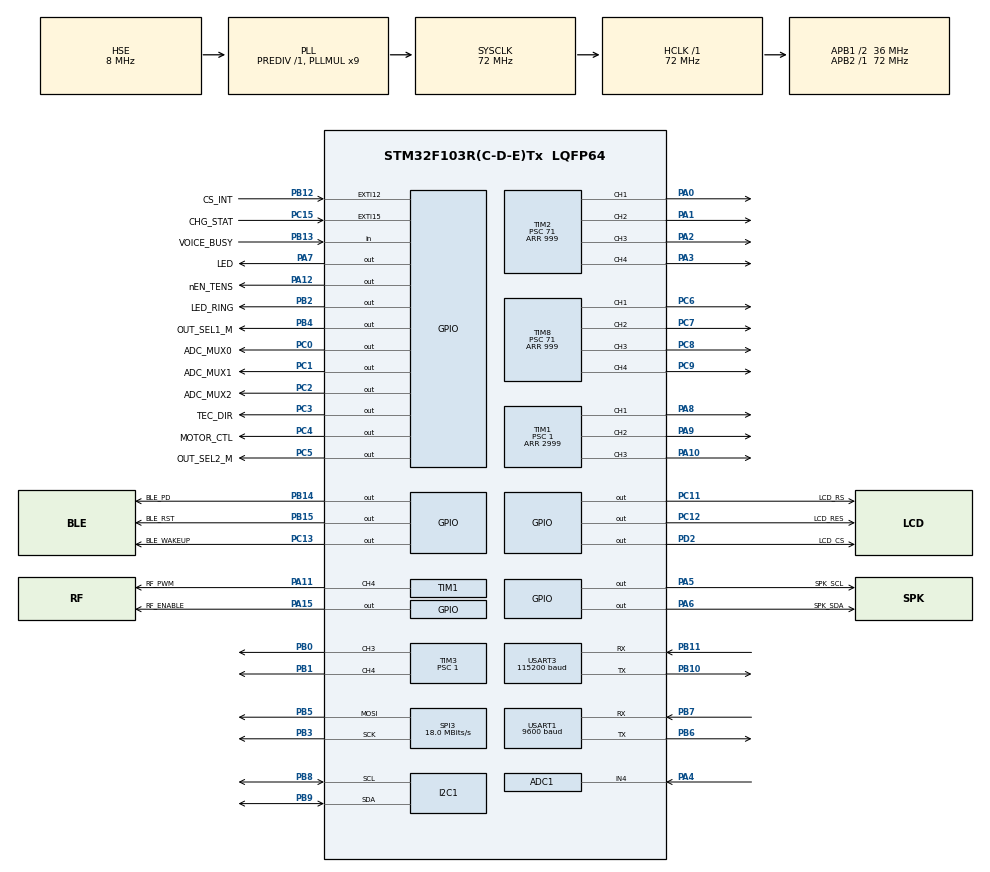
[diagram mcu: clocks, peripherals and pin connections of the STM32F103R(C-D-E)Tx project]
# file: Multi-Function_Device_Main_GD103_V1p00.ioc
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ADC1.Channel-0\#ChannelRegularConversion=ADC_CHANNEL_4
ADC1.ContinuousConvMode=ENABLE
ADC1.DiscontinuousConvMode=DISABLE
ADC1.NbrOfConversion=1
ADC1.NbrOfConversionFlag=1
ADC1.Rank-0\#ChannelRegularConversion=1
ADC1.SamplingTime-0\#ChannelRegularConversion=ADC_SAMPLETIME_1CYCLE_5
ADC1.master=1
Mcu.Family=STM32F1
Mcu.Name=STM32F103R(C-D-E)Tx
Mcu.Package=LQFP64
NVIC.EXTI15_10_IRQn=true\:0\:0\:false\:false\:true\:true\:true
NVIC.PriorityGroup=NVIC_PRIORITYGROUP_4
NVIC.TIM6_IRQn=true\:0\:0\:false\:false\:true\:true\:true
NVIC.USART1_IRQn=true\:0\:0\:false\:false\:true\:true\:true
NVIC.USART3_IRQn=true\:0\:0\:false\:false\:true\:true\:true
PA0-WKUP.Signal=S_TIM2_CH1_ETR
PA1.Signal=S_TIM2_CH2
PA10.Signal=S_TIM1_CH3
PA11.GPIO_Label=RF_PWM
PA11.Signal=S_TIM1_CH4
PA12.GPIO_Label=nEN_TENS
PA12.Signal=GPIO_Output
PA13.Mode=Serial_Wire
PA13.Signal=SYS_JTMS-SWDIO
PA14.Mode=Serial_Wire
PA14.Signal=SYS_JTCK-SWCLK
PA15.GPIO_Label=RF_ENABLE
PA15.PinState=GPIO_PIN_SET
PA15.Signal=GPIO_Output
PA2.Signal=S_TIM2_CH3
PA3.Signal=S_TIM2_CH4
PA4.Signal=ADCx_IN4
PA5.GPIO_Label=SPK_SCL
PA5.Signal=GPIO_Output
PA6.GPIO_Label=SPK_SDA
PA6.Signal=GPIO_Output
PA7.GPIO_Label=LED
PA7.Signal=GPIO_Output
PA8.Signal=S_TIM1_CH1
PA9.Signal=S_TIM1_CH2
PB0.Signal=S_TIM3_CH3
PB1.Signal=S_TIM3_CH4
PB10.Mode=Asynchronous
PB10.Signal=USART3_TX
PB11.Mode=Asynchronous
PB11.Signal=USART3_RX
PB12.GPIO_Label=CS_INT
PB12.GPIO_ModeDefaultEXTI=GPIO_MODE_IT_FALLING
PB12.GPIO_PuPd=GPIO_NOPULL
PB12.Signal=GPXTI12
PB13.GPIO_Label=VOICE_BUSY
PB13.Signal=GPIO_Input
PB14.GPIO_Label=BLE_PD
PB14.Signal=GPIO_Output
PB15.GPIO_Label=BLE_RST
PB15.Signal=GPIO_Output
PB2.GPIO_Label=LED_RING
PB2.Signal=GPIO_Output
PB3.Mode=TX_Only_Simplex_Unidirect_Master
PB3.Signal=SPI3_SCK
PB4.GPIO_Label=OUT_SEL1_M
PB4.Signal=GPIO_Output
PB5.Mode=TX_Only_Simplex_Unidirect_Master
PB5.Signal=SPI3_MOSI
PB6.Mode=Asynchronous
PB6.Signal=USART1_TX
PB7.Mode=Asynchronous
PB7.Signal=USART1_RX
PB8.Mode=I2C
PB8.Signal=I2C1_SCL
PB9.Mode=I2C
PB9.Signal=I2C1_SDA
PC0.GPIO_Label=ADC_MUX0
PC0.Signal=GPIO_Output
PC1.GPIO_Label=ADC_MUX1
PC1.Signal=GPIO_Output
PC11.GPIO_Label=LCD_RS
PC11.Signal=GPIO_Output
PC12.GPIO_Label=LCD_RES
PC12.Signal=GPIO_Output
PC13-TAMPER-RTC.GPIO_Label=BLE_WAKEUP
PC13-TAMPER-RTC.Signal=GPIO_Output
PC15-OSC32_OUT.GPIO_Label=CHG_STAT
PC15-OSC32_OUT.Signal=GPXTI15
PC2.GPIO_Label=ADC_MUX2
PC2.Signal=GPIO_Output
PC3.GPIO_Label=TEC_DIR
PC3.Signal=GPIO_Output
PC4.GPIO_Label=MOTOR_CTL
PC4.Signal=GPIO_Output
PC5.GPIO_Label=OUT_SEL2_M
PC5.Signal=GPIO_Output
PC6.Signal=S_TIM8_CH1
PC7.Signal=S_TIM8_CH2
PC8.Signal=S_TIM8_CH3
PC9.Signal=S_TIM8_CH4
PD0-OSC_IN.Mode=HSE-External-Oscillator
PD0-OSC_IN.Signal=RCC_OSC_IN
PD1-OSC_OUT.Mode=HSE-External-Oscillator
PD1-OSC_OUT.Signal=RCC_OSC_OUT
PD2.GPIO_Label=LCD_CS
PD2.Signal=GPIO_Output
ProjectManager.HeapSize=0x200
ProjectManager.StackSize=0x400
ProjectManager.TargetToolchain=STM32CubeIDE
RCC.ADCPresc=RCC_ADCPCLK2_DIV6
RCC.AHBFreq_Value=72000000
RCC.APB1CLKDivider=RCC_HCLK_DIV2
RCC.APB1Freq_Value=36000000
RCC.APB1TimFreq_Value=72000000
RCC.APB2Freq_Value=72000000
RCC.APB2TimFreq_Value=72000000
RCC.HCLKFreq_Value=72000000
RCC.PLLMUL=RCC_PLL_MUL9
RCC.PLLSourceVirtual=RCC_PLLSOURCE_HSE
RCC.SYSCLKFreq_VALUE=72000000
RCC.SYSCLKSource=RCC_SYSCLKSOURCE_PLLCLK
RCC.USBFreq_Value=72000000
SH.ADCx_IN4.0=ADC1_IN4,IN4
SH.S_TIM1_CH1.0=TIM1_CH1,PWM Generation1 CH1
SH.S_TIM1_CH2.0=TIM1_CH2,PWM Generation2 CH2
SH.S_TIM1_CH3.0=TIM1_CH3,PWM Generation3 CH3
SH.S_TIM1_CH4.0=TIM1_CH4,PWM Generation4 CH4
SH.S_TIM2_CH1_ETR.0=TIM2_CH1,PWM Generation1 CH1
SH.S_TIM2_CH2.0=TIM2_CH2,PWM Generation2 CH2
SH.S_TIM2_CH3.0=TIM2_CH3,PWM Generation3 CH3
SH.S_TIM2_CH4.0=TIM2_CH4,PWM Generation4 CH4
SH.S_TIM3_CH3.0=TIM3_CH3,PWM Generation3 CH3
SH.S_TIM3_CH4.0=TIM3_CH4,PWM Generation4 CH4
SH.S_TIM8_CH1.0=TIM8_CH1,PWM Generation1 CH1
SH.S_TIM8_CH2.0=TIM8_CH2,PWM Generation2 CH2
SH.S_TIM8_CH3.0=TIM8_CH3,PWM Generation3 CH3
SH.S_TIM8_CH4.0=TIM8_CH4,PWM Generation4 CH4
SPI3.CalculateBaudRate=18.0 MBits/s
SPI3.Direction=SPI_DIRECTION_2LINES
SPI3.Mode=SPI_MODE_MASTER
SPI3.VirtualType=VM_MASTER
TIM1.Channel-PWM\ Generation1\ CH1=TIM_CHANNEL_1
TIM1.Channel-PWM\ Generation2\ CH2=TIM_CHANNEL_2
TIM1.Channel-PWM\ Generation3\ CH3=TIM_CHANNEL_3
TIM1.Channel-PWM\ Generation4\ CH4=TIM_CHANNEL_4
TIM1.Period=2999
TIM1.Prescaler=1
TIM1.Pulse-PWM\ Generation1\ CH1=300
TIM1.Pulse-PWM\ Generation2\ CH2=300
TIM1.Pulse-PWM\ Generation3\ CH3=300
TIM1.Pulse-PWM\ Generation4\ CH4=300
TIM2.Channel-PWM\ Generation1\ CH1=TIM_CHANNEL_1
TIM2.Channel-PWM\ Generation2\ CH2=TIM_CHANNEL_2
TIM2.Channel-PWM\ Generation3\ CH3=TIM_CHANNEL_3
TIM2.Channel-PWM\ Generation4\ CH4=TIM_CHANNEL_4
TIM2.Period=999
TIM2.Prescaler=71
TIM2.Pulse-PWM\ Generation1\ CH1=500
TIM2.Pulse-PWM\ Generation2\ CH2=500
TIM2.Pulse-PWM\ Generation3\ CH3=500
TIM2.Pulse-PWM\ Generation4\ CH4=500
TIM3.AutoReloadPreload=TIM_AUTORELOAD_PRELOAD_DISABLE
TIM3.Channel-PWM\ Generation3\ CH3=TIM_CHANNEL_3
TIM3.Channel-PWM\ Generation4\ CH4=TIM_CHANNEL_4
TIM3.OCMode_PWM-PWM\ Generation4\ CH4=TIM_OCMODE_PWM1
TIM3.Period=899
TIM3.Prescaler=1
TIM3.Pulse-PWM\ Generation3\ CH3=10
TIM3.Pulse-PWM\ Generation4\ CH4=10
TIM6.Period=999
TIM6.Prescaler=71
TIM8.Channel-PWM\ Generation1\ CH1=TIM_CHANNEL_1
TIM8.Channel-PWM\ Generation2\ CH2=TIM_CHANNEL_2
TIM8.Channel-PWM\ Generation3\ CH3=TIM_CHANNEL_3
TIM8.Channel-PWM\ Generation4\ CH4=TIM_CHANNEL_4
TIM8.OCPolarity_2=TIM_OCPOLARITY_LOW
TIM8.Period=999
TIM8.Prescaler=71
TIM8.Pulse-PWM\ Generation1\ CH1=499
TIM8.Pulse-PWM\ Generation2\ CH2=499
TIM8.Pulse-PWM\ Generation3\ CH3=499
TIM8.Pulse-PWM\ Generation4\ CH4=500
USART1.BaudRate=9600
USART1.VirtualMode=VM_ASYNC
USART3.BaudRate=115200
USART3.VirtualMode=VM_ASYNC
VP_TIM6_VS_ClockSourceINT.Mode=Enable_Timer
board=custom

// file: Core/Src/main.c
/* USER CODE BEGIN Header */
/**
  ******************************************************************************
  * @file           : main.c
  * @brief          : Main program body
  ******************************************************************************
  * @attention
  *
  * <h2><center>&copy; Copyright (c) 2021 STMicroelectronics.
  * All rights reserved.</center></h2>
  *
  * This software component is licensed by ST under BSD 3-Clause license,
  * the "License"; You may not use this file except in compliance with the
  * License. You may obtain a copy of the License at:
  *                        opensource.org/licenses/BSD-3-Clause
  *
  ******************************************************************************
  */
/* USER CODE END Header */
#include "main.h"
#include "adc.h"
#include "i2c.h"
#include "spi.h"
#include "tim.h"
#include "usart.h"
#include "gpio.h"

/* USER CODE BEGIN Includes */
#include "stm32f1xx_it.h"
#include "SystemProcess.h"
#include "KeyScanTask.h"
#include "CapTouch_I2C.h"
#include "Voice_I2C.h"
#include "LCD_Driver.h"
#include "GUI_Paint.h"
#include "user_func.h"

/* USER CODE END Includes */

/* USER CODE BEGIN PD */
#define DEBUG_MODE__

/* USER CODE END PD */

/* USER CODE BEGIN PV */
uint8_t temp_key;
__IO uint32_t adcVal[1];

extern uint8_t Rx1Packet[16];
extern uint8_t Cnt_Rx1Uart;

uint8_t Tx1Packet[16];
/* USER CODE END PV */

void SystemClock_Config(void);
/* USER CODE BEGIN PFP */
#ifdef __GNUC__
  /* With GCC/RAISONANCE, small printf (option LD Linker->Libraries->Small printf
     set to 'Yes') calls __io_putchar() */
  #define PUTCHAR_PROTOTYPE int __io_putchar(int ch)
#else
  #define PUTCHAR_PROTOTYPE int fputc(int ch, FILE *f)
#endif /* __GNUC__ */

static void System_Init_Config(void);
void StopMode(void);

/* USER CODE END PFP */

/* USER CODE BEGIN 0 */
/*******************************************************************************
* Function Name  : delay_us
* Description    : Initiate system parameters
* Input          : None
* Output         : None
*******************************************************************************/
void delay_us(uint16_t us)
{
	__HAL_TIM_SET_COUNTER(&htim6, 0);				// set the counter value a 0
	while (__HAL_TIM_GET_COUNTER(&htim6) < us);		// wait for the counter to reach the us input in the parameter
}

/*******************************************************************************
* Function Name  : System_Information
* Description    : Display system information
* Input          : None
* Output         : None
*******************************************************************************/
void System_Information(void)
{
    printf("================= %s =================\r\n", MODELNAME);
    printf("  VERSION   : H/W %s, S/W %s\r\n", HW_VERSION, FW_VERSION);
    printf("  BUILD DATE: %s              \r\n\n", BUILD_DATE);

    printf("  SYSCLK_Frequency = %lu\r\n", HAL_RCC_GetSysClockFreq());
    printf("  HCLK_Frequency = %lu\r\n", HAL_RCC_GetHCLKFreq());
    printf("  PCLK1_Frequency = %lu\r\n", HAL_RCC_GetPCLK1Freq());
    printf("  PCLK2_Frequency = %lu\r\n", HAL_RCC_GetPCLK2Freq());
    printf("=========================================\r\n\n");
}

/*******************************************************************************
* Function Name  : System_Init_Config
* Description    : Initiate system parameters
* Input          : None
* Output         : None
*******************************************************************************/
static void System_Init_Config(void)
{
	/* Display Device Information */
	System_Information();

	/* UART Initiation */
	HAL_UART_Receive_IT(&huart1, (uint8_t*) Rx1Data, 1);
	HAL_UART_Receive_IT(&huart3, (uint8_t*) Rx3Data, 1);

	/* TIMER Initiation */
	/* TIM6 is main timer for Scheduling */
	HAL_TIM_Base_Start_IT(&htim6);

	// TIM1 Ch1, Ch2, Ch3 are used for Head LED Control
	HAL_TIM_PWM_Stop(&htim1, TIM_CHANNEL_1);
	HAL_TIM_PWM_Stop(&htim1, TIM_CHANNEL_2);
	HAL_TIM_PWM_Stop(&htim1, TIM_CHANNEL_3);

	// TIM1 Ch4 is used for driving source of TENS intensity
	HAL_TIM_PWM_Stop(&htim1, TIM_CHANNEL_4);

	// TIM1 Ch1, Ch2, Ch3 are used for Head LED Control
	DiffusionLEDControl(POWER_OFF);
	HAL_TIM_PWM_Stop(&htim2, TIM_CHANNEL_1);
	HAL_TIM_PWM_Stop(&htim2, TIM_CHANNEL_2);
	HAL_TIM_PWM_Stop(&htim2, TIM_CHANNEL_3);

	// TIM3 Ch1 is used for driving source of TEC(Peltier) Module
	// There is a problem with SPI1 and TIM3_CH1 remapping
	// Conflict between the TIM3_CH1 signal and the I2C1 MISO signal, (even if MISO is not used).
	//HAL_TIM_PWM_Start(&htim3, TIM_CHANNEL_1);
	HAL_TIM_PWM_Stop(&htim3, TIM_CHANNEL_3);
	TEC_DIR_HIGH;
	HAL_TIM_PWM_Stop(&htim3, TIM_CHANNEL_4);

	// TIM8 Ch1, Ch2, Ch3 is used for driving source of TENS and Galvanic function
	//htim8.Instance -> PSC = 71;								// Set Prescaler
	//htim8.Instance -> ARR = 999;								// Set Period
	//htim8.Instance -> CCR4 = 499;								// Set Duty(Pulse)
	HAL_TIM_PWM_Stop(&htim8, TIM_CHANNEL_1);
	HAL_TIM_PWM_Stop(&htim8, TIM_CHANNEL_2);
	HAL_TIM_PWM_Stop(&htim8, TIM_CHANNEL_3);

	// TIM8 Ch4 is used for driving source of RF function
	//htim8.Instance -> PSC = 1;								// Set Prescaler, 63
	//htim8.Instance -> ARR = 35;								// Set Period, 999
	//htim8.Instance -> CCR4 = 18;								// Set Duty(Pulse), 499
	HAL_TIM_PWM_Stop(&htim8, TIM_CHANNEL_4);

	/* ADC Initiation */
	HAL_ADC_Start(&hadc1);

	/* Key Function Initiation */
	KeyVariableInit();
	// Capacitive Touch Driver Initiation
	Configure_CapTouch();

	/* Bluetooth Initiation */
//	BLE_OFF;
//	BLE_PD_LOW;
//	BLE_WAKEUP_LOW;
	BLE_ON;

	DISABLE_TENS;
	/* GPIO Control */
	//RF_ENABLE;
	//RF_DISABLE;
	//RFHV_DISABLE;

//	OUT_SEL1_HIGH;
//	OUT_SEL2_HIGH;
//	DISABLE_TENS;

	SysMode.PowerStatus = POWEROFF_MODE;
	SysMode.OperationMode = STANDBY_MODE;
	SysMode.OperationIntensity = LEVEL1;
	SysMode.Flag_OpStatus = DISABLE_OUTPUT;
	SysMode.Cnt_AutoStart = 0;

	//USER_I2C1toGPIO();
	//
	//  Line_1A_WT588F(0xEF);
	//  HAL_Delay(500);

	/* Check STANDBY Wake-up */
	if(__HAL_PWR_GET_FLAG(PWR_FLAG_SB))
	{
		printf("Standby Wake-up\r\n");
		__HAL_PWR_CLEAR_FLAG(PWR_FLAG_WU | PWR_FLAG_SB);
	}

	//printf("\n>> Enter Stop mode\r\n");
	//StopMode();						// Stop mode is done by EXTI

}
/* USER CODE END 0 */

int main(void)
{
  /* USER CODE BEGIN 1 */
//	static uint32_t temp_test = 0;
//	char buf_atcom[16];
	//static uint8_t cnt_sound = 0;
	char Tx1Buf[1];
	uint8_t j;
  /* USER CODE END 1 */

  /* MCU Configuration--------------------------------------------------------*/

  /* Reset of all peripherals, Initializes the Flash interface and the Systick. */
  HAL_Init();

  /* Configure the system clock */
  SystemClock_Config();

  /* Initialize all configured peripherals */
  MX_GPIO_Init();
  MX_ADC1_Init();
  MX_I2C1_Init();
  MX_TIM1_Init();
  MX_TIM2_Init();
  MX_TIM6_Init();
  MX_TIM8_Init();
  MX_USART1_UART_Init();
  MX_USART3_UART_Init();
  MX_TIM3_Init();
  MX_SPI3_Init();
  /* USER CODE BEGIN 2 */
  System_Init_Config();

//  htim3.Instance -> CCR4 = 450;
//  HAL_TIM_PWM_Start(&htim3, TIM_CHANNEL_4);

//  // TIM1 Ch4 is used for driving source of TENS intensity
//  HAL_TIM_PWM_Start(&htim1, TIM_CHANNEL_4);
//  htim1.Instance -> CCR4 = 10;
//
//  while(1)
//  {
//	  if(flag_10Hz)
//	  {
//		  flag_10Hz = 0;
//		  // TENS Level Control
//		  temp_test += 5;
//		  if(temp_test >= 250)
//		  {
//			  temp_test = 0;
//		  }
//		  htim1.Instance -> CCR4 = temp_test;						// Set Duty(Pulse)
//	  }
//  }

  /* USER CODE END 2 */

  /* Infinite loop */
  /* USER CODE BEGIN WHILE */
  while (1)
  {
/*
	  if(flag_2Hz){
		  flag_2Hz = 0;
		  set_systemstatus();
		  BT_Proc();
	  }
*/
	  HeadLEDControl(HEAD_BLUE, 10);
	  HAL_Delay(500);
	  HeadLEDControl(HEAD_RED, 10);
	  HAL_Delay(500);
	  HeadLEDControl(HEAD_IR, 10);
	  HAL_Delay(500);

/*
	  switch(SysMode.OperationMode)
	  {
	  case STANDBY_MODE:		StandbyMode_Process();		break;
	  case SOOTHING_MODE:		SoothingMode_Process();		break;
	  case BLEMISH_CARE:		BlemishCare_Process();		break;
	  case MOISTURE_MODE:		MoistureMode_Process();		break;
	  case COLLAGEN_MODE:		CollagenMode_Process();		break;
	  case TIGHTENING_MODE:		TighteningMode_Process();	break;
	  case LIFTING_MODE:		LiftingMode_Process();		break;
	  case EYECARE_MODE:		EyeCare_Process();			break;
	  case BLECONN_MODE:		BleConnection_Process();	break;
	  default:
		  Tx1Packet[0] = 'A';
		  Tx1Packet[1] = 'T';
		  Tx1Packet[2] = '+';
		  Tx1Packet[3] = 'S';
		  Tx1Packet[4] = 'L';
		  Tx1Packet[5] = 'E';
		  Tx1Packet[6] = 'E';
		  Tx1Packet[7] = 'P';
		  Tx1Packet[8] = '\n';

		  for(j = 0; j < 9; j++)
		  {
			  Tx1Buf[0] = Tx1Packet[j];
			  HAL_UART_Transmit(&huart1, (uint8_t *)&Tx1Buf, 1, 0xFFFF);
		  }

		  //StandbyMode();
		  StopMode();

		  KeyVariableInit();
		  SysMode.OperationMode = STANDBY_MODE;

		  NVIC_SystemReset();

		  break;
	  }
*/
    /* USER CODE END WHILE */

    /* USER CODE BEGIN 3 */
	  //Line_1A_WT588F(0xF3);
	  //Line_2A_WT588F(0xF3);
	  //SPK_CLK_HIGH;
	  //HAL_Delay(2);
	  //delay_us(300);

	  //cnt_sound++;
	  //Line_1A_WT588F(cnt_sound);
	  //Line_2A_WT588F(0x01);
	  //SPK_CLK_LOW;
	  //HAL_Delay(2000);
	  //delay_us(300);

//
//	  if(flag_10Hz)
//	  {
//		  flag_10Hz = 0;
//
//		  LedToggle_CapTouch();
//		  LED_TOG;
//		  OUT_SEL1_TOG;
//
//		  temp_key = Read_CapTouch();
//		  printf("Key = %x\r\n", temp_key);
//
//		  /*// TENS Level Control
//		  temp_test += 10;
//		  if(temp_test >= 2000)
//		  {
//			  temp_test = 0;
//		  }
//		  //htim1.Instance -> CCR4 = temp_test;						// Set Duty(Pulse)
//		  */
//	  }
//
//	  if(flag_2Hz)
//	  {
//		  flag_2Hz = 0;
//
//		  //VoiceOutput(VOICE_ALARM2);
//		  //printf("%c\r\n", Rx1Packet[0]);
//	  }
  }
  /* USER CODE END 3 */
}

void SystemClock_Config(void)
{
  RCC_OscInitTypeDef RCC_OscInitStruct = {0};
  RCC_ClkInitTypeDef RCC_ClkInitStruct = {0};
  RCC_PeriphCLKInitTypeDef PeriphClkInit = {0};

  /** Initializes the RCC Oscillators according to the specified parameters
  * in the RCC_OscInitTypeDef structure.
  */
  RCC_OscInitStruct.OscillatorType = RCC_OSCILLATORTYPE_HSE;
  RCC_OscInitStruct.HSEState = RCC_HSE_ON;
  RCC_OscInitStruct.HSEPredivValue = RCC_HSE_PREDIV_DIV1;
  RCC_OscInitStruct.HSIState = RCC_HSI_ON;
  RCC_OscInitStruct.PLL.PLLState = RCC_PLL_ON;
  RCC_OscInitStruct.PLL.PLLSource = RCC_PLLSOURCE_HSE;
  RCC_OscInitStruct.PLL.PLLMUL = RCC_PLL_MUL9;
  if (HAL_RCC_OscConfig(&RCC_OscInitStruct) != HAL_OK)
  {
    Error_Handler();
  }
  /** Initializes the CPU, AHB and APB buses clocks
  */
  RCC_ClkInitStruct.ClockType = RCC_CLOCKTYPE_HCLK|RCC_CLOCKTYPE_SYSCLK
                              |RCC_CLOCKTYPE_PCLK1|RCC_CLOCKTYPE_PCLK2;
  RCC_ClkInitStruct.SYSCLKSource = RCC_SYSCLKSOURCE_PLLCLK;
  RCC_ClkInitStruct.AHBCLKDivider = RCC_SYSCLK_DIV1;
  RCC_ClkInitStruct.APB1CLKDivider = RCC_HCLK_DIV2;
  RCC_ClkInitStruct.APB2CLKDivider = RCC_HCLK_DIV1;

  if (HAL_RCC_ClockConfig(&RCC_ClkInitStruct, FLASH_LATENCY_2) != HAL_OK)
  {
    Error_Handler();
  }
  PeriphClkInit.PeriphClockSelection = RCC_PERIPHCLK_ADC;
  PeriphClkInit.AdcClockSelection = RCC_ADCPCLK2_DIV6;
  if (HAL_RCCEx_PeriphCLKConfig(&PeriphClkInit) != HAL_OK)
  {
    Error_Handler();
  }
}

/* USER CODE BEGIN 4 */
/**
  * @brief  Retargets the C library printf function to the USART.
  * @param  None
  * @retval None
  */
PUTCHAR_PROTOTYPE
{
  /* Place your implementation of fputc here */
  /* e.g. write a character to the EVAL_COM1 and Loop until the end of transmission */
  HAL_UART_Transmit(&huart3, (uint8_t *)&ch, 1, 0xFFFF);

  return ch;
}

void USART1_Printf(char *pch)
{
	while(*pch != '\0')
	{
		HAL_UART_Transmit(&huart1, (uint8_t *)&pch, 1, 0xFFFF);
		pch++;
	}
}

/*******************************************************************************
* Function Name  : SleepMode
* Description    :
* Input          : None
* Output         : None
*******************************************************************************/
void StandbyMode(void)
{
	/* Wait 5 Seconds */
	HAL_Delay(5000);

	/* Enable Power Peripheral */
	//__HAL_RCC_PWR_CLK_ENABLE();

	/* STOP Mode */
	HAL_PWR_EnterSTANDBYMode();
}

/*******************************************************************************
* Function Name  : SleepMode
* Description    :
* Input          : None
* Output         : None
*******************************************************************************/
void SleepMode(void)
{
	/* Suspend SysTick */
	HAL_SuspendTick();

	/* Enable Power Peripheral */
	__HAL_RCC_PWR_CLK_ENABLE();

	/* Stop Timer Interrup */
	HAL_TIM_Base_Stop_IT(&htim6);

	/* Sleep Mode */
	HAL_PWR_EnterSLEEPMode(0, PWR_SLEEPENTRY_WFI);

	/* Resum SysTick When System Wake-up */
	HAL_ResumeTick();
}

/*******************************************************************************
* Function Name  : SleepMode
* Description    :
* Input          : None
* Output         : None
*******************************************************************************/
void StopMode(void)
{
	static uint32_t Cnt_StopMode = 0;
	uint8_t temp_keytouch;

	while(1)
	{
		if(flag_2Hz)
		{
			flag_2Hz = 0;

			LED_TOG;

			if(SysMode.OperationMode == SLEEP_MODE)
			{
				Cnt_StopMode++;
				if(Cnt_StopMode > 6)
				{
					temp_keytouch = Read_CapTouch();
					printf("key = %02x\r\n", temp_keytouch);
					if(temp_keytouch == 0)
					{
						Cnt_StopMode = 0;

						break;
					}
				}
			}
			else
			{
				break;
			}
		}
	}

	if(SysMode.PowerStatus == POWEROFF_MODE)
	{
		printf("Cnt_StopMode = %d\r\n", (uint16_t)Cnt_StopMode);
		LED_OFF;

		/* Suspend SysTick */
		HAL_SuspendTick();

		/* Enable Power Peripheral */
		//__HAL_RCC_PWR_CLK_ENABLE();

		/* STOP Mode */
		HAL_PWR_EnterSTOPMode(PWR_LOWPOWERREGULATOR_ON, PWR_STOPENTRY_WFI);

		/* Resume SysTick When System Wake-up */
		HAL_ResumeTick();

		/* PLL Clock Recovery */
		SystemClock_Config();

		SysMode.PowerStatus = POWERON_MODE;
	}

//	static uint32_t Cnt_StopMode = 0;
//
//	//HAL_Delay(3000);
//	while(1)
//	{
//		if(flag_2Hz)
//		{
//			flag_2Hz = 0;
//
//			LED_TOG;
//
//			Cnt_StopMode++;
//			if(Cnt_StopMode > 6)
//			{
//				Cnt_StopMode = 0;
//
//				/* Suspend SysTick */
//				HAL_SuspendTick();
//
//				/* Enable Power Peripheral */
//				__HAL_RCC_PWR_CLK_ENABLE();
//
//				/* STOP Mode */
//				HAL_PWR_EnterSTOPMode(PWR_LOWPOWERREGULATOR_ON, PWR_SLEEPENTRY_WFI);
//
//				/* Resum SysTick When System Wake-up */
//				HAL_ResumeTick();
//
//				/* PLL Clock Recovery */
//				SystemClock_Config();
//			}
//		}
//
//		if(flag_100Hz)
//		{
//			flag_100Hz = 0;
//
//			KeyScanTask();							// Check Key Switch
//			Key_Function();
//		}
//
//		if(SysMode.OperationMode != SLEEP_MODE)
//		{
//			SysMode.OperationMode = STANDBY_MODE;
//		}
//	}
}

/* USER CODE END 4 */

void Error_Handler(void)
{
  __disable_irq();
  while (1)
  {
  }
}

/************************ (C) COPYRIGHT STMicroelectronics *****END OF FILE****/
